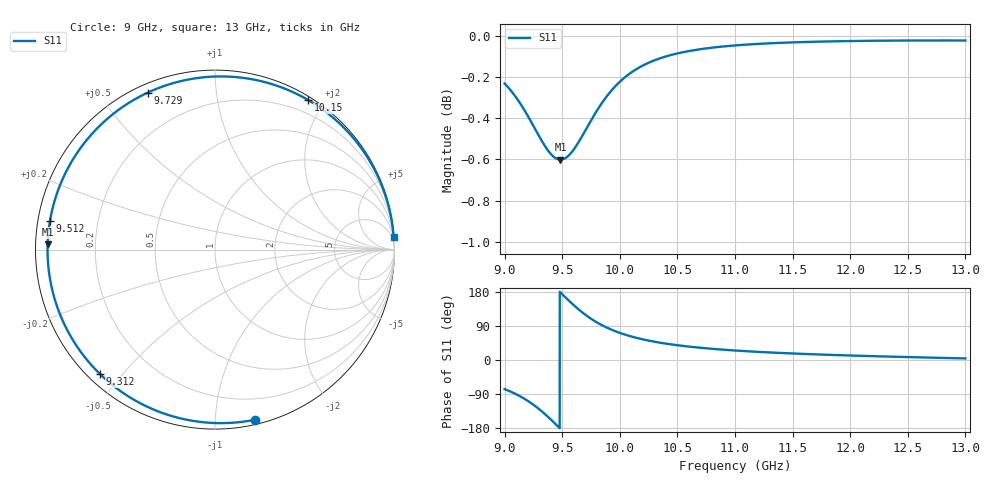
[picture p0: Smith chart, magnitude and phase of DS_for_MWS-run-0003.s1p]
! TOUCHSTONE file generated by CST DESIGN STUDIO
! Date and time: Tue Feb  4 13:08:08 2025
! Project name: C:\Work\MatlabApps\UnitCellOptimizationMatlab\CST\unitcell.cst
! Tree item: Tasks\Sweep1\SPara1\S-Parameters
! Header version: 2024
! Port assignment regex: !\s*Touchstone port\s*([0-9]+)\s*=\s*(CST MWS port|CST DES external port|CST DES block port)\s*(.+)\s* \(\"(.*)\"\)(\s*mode\s*([0-9]+))?.*
! Touchstone port assignment:
! Touchstone port 1 = CST DES external port 1 ("")
# GHz S MA R 50
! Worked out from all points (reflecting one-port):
!   4001 points, 9 GHz to 13 GHz, reference 50 ohm
!   lowest |S11| = -0.6 dB at 9.485 GHz (marker M1), VSWR 28.91, Z = 1.73 + j0.806 ohm
!   phase of S11 starts at -77 deg and turns -279 deg over the sweep
!   S11 on the Smith chart (normalised r, x): 9 GHz: 0.03, -1.26; 9.312 GHz: 0.03, -0.44; 9.512 GHz: 0.03, +0.09; 9.729 GHz: 0.04, +0.66; 10.15 GHz: 0.04, +1.80; 13 GHz: 1, +27
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9  0.9737 -76.8
9.079  0.9679 -87.2
9.178  0.9587 -103.4
9.247  0.9512 -117.4
9.312  0.9441 -132.8
9.358  0.9395 -144.9
9.406  0.9357 -158.4
9.446  0.9338 -170.2
9.485  0.9331 178.1
9.5  0.9332 173.6
9.512  0.9335 170.1
9.564  0.9357 154.8
9.624  0.9406 138.3
9.676  0.9458 125.2
9.729  0.9516 113.2
9.783  0.9572 102.5
9.844  0.9631 92.0
9.921  0.9694 80.9
10  0.9747 71.6
10.15  0.9818 58.0
10.308  0.9866 47.8
10.5  0.9903 39.0
10.722  0.9928 31.6
11  0.9947 25.1
11.5  0.9964 17.2
12  0.9972 11.8
12.5  0.9974 7.7
13  0.9974 4.2
